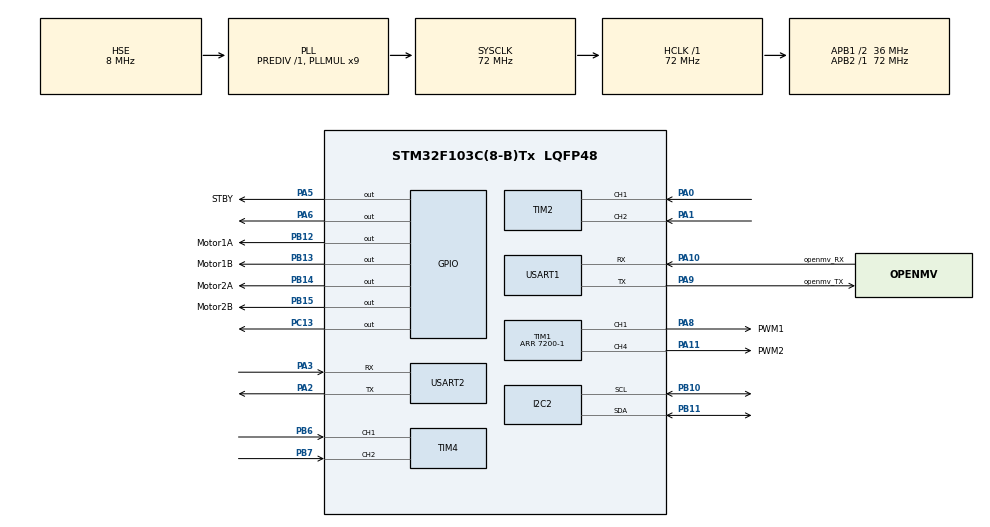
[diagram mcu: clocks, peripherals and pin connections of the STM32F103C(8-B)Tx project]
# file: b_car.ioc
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I2C2.I2C_Mode=I2C_Fast
Mcu.Family=STM32F1
Mcu.Name=STM32F103C(8-B)Tx
Mcu.Package=LQFP48
NVIC.PriorityGroup=NVIC_PRIORITYGROUP_4
NVIC.TIM3_IRQn=true\:0\:0\:false\:false\:true\:true\:true\:true
NVIC.USART1_IRQn=true\:0\:0\:false\:false\:true\:true\:true\:true
NVIC.USART2_IRQn=true\:0\:0\:false\:false\:true\:true\:true\:true
PA0-WKUP.Signal=S_TIM2_CH1_ETR
PA1.Signal=S_TIM2_CH2
PA10.GPIO_Label=openmv_RX
PA10.Mode=Asynchronous
PA10.Signal=USART1_RX
PA11.GPIO_Label=PWM2
PA11.Signal=S_TIM1_CH4
PA13.Mode=Serial_Wire
PA13.Signal=SYS_JTMS-SWDIO
PA14.Mode=Serial_Wire
PA14.Signal=SYS_JTCK-SWCLK
PA2.Mode=Asynchronous
PA2.Signal=USART2_TX
PA3.Mode=Asynchronous
PA3.Signal=USART2_RX
PA5.GPIO_Label=STBY
PA5.Signal=GPIO_Output
PA6.Signal=GPIO_Output
PA7.Signal=S_TIM3_CH2
PA8.GPIO_Label=PWM1
PA8.Signal=S_TIM1_CH1
PA9.GPIO_Label=openmv_TX
PA9.Mode=Asynchronous
PA9.Signal=USART1_TX
PB10.Mode=I2C
PB10.Signal=I2C2_SCL
PB11.Mode=I2C
PB11.Signal=I2C2_SDA
PB12.GPIO_Label=Motor1A
PB12.Signal=GPIO_Output
PB13.GPIO_Label=Motor1B
PB13.Signal=GPIO_Output
PB14.GPIO_Label=Motor2A
PB14.Signal=GPIO_Output
PB15.GPIO_Label=Motor2B
PB15.Signal=GPIO_Output
PB6.Signal=S_TIM4_CH1
PB7.Signal=S_TIM4_CH2
PC13-TAMPER-RTC.Signal=GPIO_Output
PD0-OSC_IN.Mode=HSE-External-Oscillator
PD0-OSC_IN.Signal=RCC_OSC_IN
PD1-OSC_OUT.Mode=HSE-External-Oscillator
PD1-OSC_OUT.Signal=RCC_OSC_OUT
ProjectManager.HeapSize=0x200
ProjectManager.StackSize=0x400
ProjectManager.TargetToolchain=MDK-ARM V5.32
RCC.AHBFreq_Value=72000000
RCC.APB1CLKDivider=RCC_HCLK_DIV2
RCC.APB1Freq_Value=36000000
RCC.APB1TimFreq_Value=72000000
RCC.APB2Freq_Value=72000000
RCC.APB2TimFreq_Value=72000000
RCC.HCLKFreq_Value=72000000
RCC.PLLMUL=RCC_PLL_MUL9
RCC.PLLSourceVirtual=RCC_PLLSOURCE_HSE
RCC.SYSCLKFreq_VALUE=72000000
RCC.SYSCLKSource=RCC_SYSCLKSOURCE_PLLCLK
RCC.USBFreq_Value=72000000
SH.S_TIM1_CH1.0=TIM1_CH1,PWM Generation1 CH1
SH.S_TIM1_CH4.0=TIM1_CH4,PWM Generation4 CH4
SH.S_TIM2_CH1_ETR.0=TIM2_CH1,Encoder_Interface
SH.S_TIM2_CH2.0=TIM2_CH2,Encoder_Interface
SH.S_TIM3_CH2.0=TIM3_CH2
SH.S_TIM4_CH1.0=TIM4_CH1,Encoder_Interface
SH.S_TIM4_CH2.0=TIM4_CH2,Encoder_Interface
TIM1.Channel-PWM\ Generation1\ CH1=TIM_CHANNEL_1
TIM1.Channel-PWM\ Generation4\ CH4=TIM_CHANNEL_4
TIM1.Period=7200-1
TIM2.EncoderMode=TIM_ENCODERMODE_TI12
TIM3.AutoReloadPreload=TIM_AUTORELOAD_PRELOAD_ENABLE
TIM3.Period=500-1
TIM3.Prescaler=7200-1
TIM4.EncoderMode=TIM_ENCODERMODE_TI12
TIM4.IC2Polarity=TIM_ICPOLARITY_RISING
USART1.VirtualMode=VM_ASYNC
USART2.VirtualMode=VM_ASYNC
VP_TIM1_VS_ClockSourceINT.Mode=Internal
VP_TIM3_VS_ClockSourceINT.Mode=Internal
board=custom

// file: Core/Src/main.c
/* USER CODE BEGIN Header */
/**
  ******************************************************************************
  * @file           : main.c
  * @brief          : Main program body
  ******************************************************************************
  * @attention
  *
  * Copyright (c) 2022 STMicroelectronics.
  * All rights reserved.
  *
  * This software is licensed under terms that can be found in the LICENSE file
  * in the root directory of this software component.
  * If no LICENSE file comes with this software, it is provided AS-IS.
  *
  ******************************************************************************
  */
/* USER CODE END Header */
#include "main.h"
#include "i2c.h"
#include "tim.h"
#include "usart.h"
#include "gpio.h"

/* USER CODE BEGIN Includes */
#include "stdio.h"
#include "mpu6050.h"
#include "control.h"
#include "encoder.h"
#include "dqn.h"
/* USER CODE END Includes */

/* USER CODE BEGIN PD */
#define PWM_MAX 7200
#define PWM_MIN -7200
#define MedAngle -1.45
MPU6050_t MPU6050;
/* USER CODE END PD */

/* USER CODE BEGIN PV */
int Moto1,Moto2,EncoderLeft,EncoderRight,Vertical_out,Velocity_out,Turn_out,PWM_out;
float pitch,roll,yaw; 		    //欧拉角
short aacx,aacy,aacz;			//加速度传感器原始数据
short gyrox,gyroy,gyroz;		//陀螺仪原始数据
float temp;						//温度

int Moto;
extern int max_num;
/* USER CODE END PV */

void SystemClock_Config(void);

int main(void)
{

  /* MCU Configuration--------------------------------------------------------*/

  /* Reset of all peripherals, Initializes the Flash interface and the Systick. */
  HAL_Init();

  /* Configure the system clock */
  SystemClock_Config();

  /* Initialize all configured peripherals */
  MX_GPIO_Init();
  MX_TIM1_Init();
  MX_TIM2_Init();
  MX_TIM4_Init();
  MX_USART2_UART_Init();
  MX_TIM3_Init();
  MX_USART1_UART_Init();
  MX_I2C2_Init();
  /* USER CODE BEGIN 2 */

HAL_TIM_Encoder_Start (&htim2 ,TIM_CHANNEL_ALL );
HAL_TIM_Encoder_Start (&htim4 ,TIM_CHANNEL_ALL );

		HAL_TIM_Base_Start_IT (&htim3 );
HAL_GPIO_WritePin (GPIOA ,GPIO_PIN_5,GPIO_PIN_SET );

   while (MPU6050_Init(&hi2c2) == 1);
  /* USER CODE END 2 */

  /* Infinite loop */
  while (1)
  {

  }
}

void SystemClock_Config(void)
{
  RCC_OscInitTypeDef RCC_OscInitStruct = {0};
  RCC_ClkInitTypeDef RCC_ClkInitStruct = {0};

  /** Initializes the RCC Oscillators according to the specified parameters
  * in the RCC_OscInitTypeDef structure.
  */
  RCC_OscInitStruct.OscillatorType = RCC_OSCILLATORTYPE_HSE;
  RCC_OscInitStruct.HSEState = RCC_HSE_ON;
  RCC_OscInitStruct.HSEPredivValue = RCC_HSE_PREDIV_DIV1;
  RCC_OscInitStruct.HSIState = RCC_HSI_ON;
  RCC_OscInitStruct.PLL.PLLState = RCC_PLL_ON;
  RCC_OscInitStruct.PLL.PLLSource = RCC_PLLSOURCE_HSE;
  RCC_OscInitStruct.PLL.PLLMUL = RCC_PLL_MUL9;
  if (HAL_RCC_OscConfig(&RCC_OscInitStruct) != HAL_OK)
  {
    Error_Handler();
  }

  /** Initializes the CPU, AHB and APB buses clocks
  */
  RCC_ClkInitStruct.ClockType = RCC_CLOCKTYPE_HCLK|RCC_CLOCKTYPE_SYSCLK
                              |RCC_CLOCKTYPE_PCLK1|RCC_CLOCKTYPE_PCLK2;
  RCC_ClkInitStruct.SYSCLKSource = RCC_SYSCLKSOURCE_PLLCLK;
  RCC_ClkInitStruct.AHBCLKDivider = RCC_SYSCLK_DIV1;
  RCC_ClkInitStruct.APB1CLKDivider = RCC_HCLK_DIV2;
  RCC_ClkInitStruct.APB2CLKDivider = RCC_HCLK_DIV1;

  if (HAL_RCC_ClockConfig(&RCC_ClkInitStruct, FLASH_LATENCY_2) != HAL_OK)
  {
    Error_Handler();
  }
}

/* USER CODE BEGIN 4 */
/*限幅函数*/
void Limit(int *motoA,int *motoB)
{
	if(*motoA>PWM_MAX)*motoA=PWM_MAX;
	if(*motoA<PWM_MIN)*motoA=PWM_MIN;

	if(*motoB>PWM_MAX)*motoB=PWM_MAX;
	if(*motoB<PWM_MIN)*motoB=PWM_MIN;
}
void HAL_TIM_PeriodElapsedCallback(TIM_HandleTypeDef *htim)
{
	if(htim ==&htim3)
	{
		printf("123\r\n");

		EncoderLeft=GetEncoder(2);
		EncoderRight=GetEncoder(4);																		//获取左右轮转速

//	HAL_GPIO_TogglePin (GPIOC ,GPIO_PIN_13 );
		MPU6050_Read_All(&hi2c2, &MPU6050);//得到陀螺仪数据
			 if(MPU6050.KalmanAngleX ||MPU6050 .Gyro_X_RAW){HAL_GPIO_WritePin (GPIOC ,GPIO_PIN_13 ,GPIO_PIN_RESET );HAL_TIM_PWM_Start(&htim1,TIM_CHANNEL_1  );
HAL_TIM_PWM_Start(&htim1,TIM_CHANNEL_4  );}
		else HAL_GPIO_WritePin (GPIOC ,GPIO_PIN_13 ,GPIO_PIN_SET );
		if (1){		// my_main(MPU6050.KalmanAngleX,MPU6050.Gyro_X_RAW) ||
			Vertical_out=Vertical(MedAngle,MPU6050.KalmanAngleX,MPU6050.Gyro_X_RAW+253);	//直立环计算
			Velocity_out=Velocity(0, EncoderLeft,EncoderRight);							//速度环计算
			Turn_out=Turn(MPU6050 .Gyro_Z_RAW, 0);														  //转向环计算
			PWM_out=Vertical_out-Velocity_out;								//最终输出
			Moto1=PWM_out-Turn_out;
			Moto2=PWM_out+Turn_out;											//计算最终输出
		}
		else{
			switch (max_num){		// 5
				case 0: Moto = -6000; break;
				case 1: Moto = -1000; break;
				case 2: Moto = -100; break;
				case 3: Moto = -40; break;
				case 4: Moto = -10; break;
				case 5: Moto = 0; break;
				case 6: Moto = 10; break;
				case 7: Moto = 40; break;
				case 8: Moto = 100; break;
				case 9: Moto = 1000; break;
				case 10: Moto = 6000; break;
				default: Moto = 0;
			}
			Moto1 = Moto;
			Moto2 = Moto;
		}
		Limit(&Moto1,&Moto2);
		if(MPU6050.KalmanAngleX >40||MPU6050.KalmanAngleX <-40) {Moto1 =0;Moto2 =0;}		//PWM限幅
		Load (Moto1 ,Moto2  );
//		printf ("LEFT:%d\n",EncoderLeft);
//		printf ("RIGHT:%d\n",EncoderRight);

	}

}
int fputc(int ch,FILE *f)
{
HAL_UART_Transmit (&huart2  ,(uint8_t *)&ch,1,HAL_MAX_DELAY );

return ch;

}
/* USER CODE END 4 */

void Error_Handler(void)
{
  __disable_irq();
  while (1)
  {
  }
}
